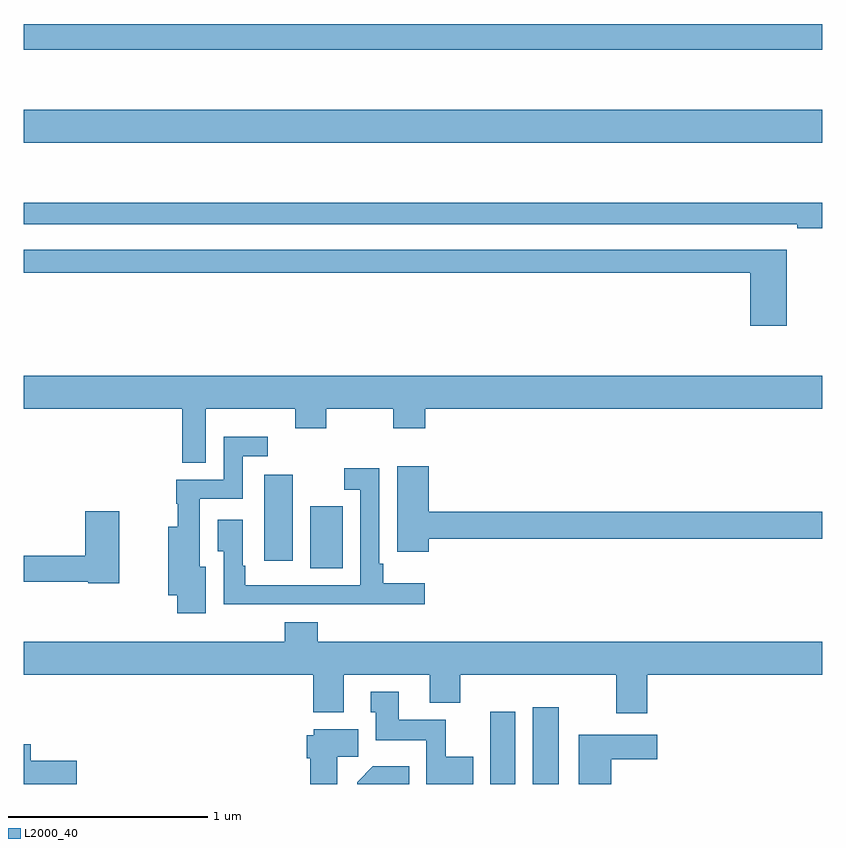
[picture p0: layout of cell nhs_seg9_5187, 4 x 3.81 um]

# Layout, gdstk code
import gdstk
lib = gdstk.Library(unit=1e-6, precision=1e-09)
def R(c, l, rs):  # rectangles x0, y0, x1, y1
    for r in rs: c.add(gdstk.rectangle(r[:2], r[2:], *l))
def P(c, l, *ps):  # polygons
    for p in ps: c.add(gdstk.Polygon(p, *l))
L2000_40 = (2000, 40)

nhs_seg9_5187 = lib.new_cell('nhs_seg9_5187')
R(nhs_seg9_5187, L2000_40, [(413.336,1234.5,413.461,1234.861), (413.549,1234.5,413.68,1234.885), (412.436,1235.581,412.597,1235.892), (412.205,1235.618,412.348,1236.049), (411,1237.712,415,1237.876), (411,1238.178,415,1238.306)])
P(nhs_seg9_5187, L2000_40, [(415,1237.411),(411,1237.411),(411,1237.302),(414.874,1237.302),(414.874,1237.282),(415,1237.282)],
  [(414.821,1237.176),(411,1237.176),(411,1237.06),(414.638,1237.06),(414.638,1236.795),(414.821,1236.795)],
  [(411.913,1236.38),(412.36,1236.38),(412.36,1236.281),(412.515,1236.281),(412.515,1236.38),(412.852,1236.38),(412.852,1236.281),(413.012,1236.281),(413.012,1236.38),(415,1236.38),(415,1236.544),(411,1236.544),(411,1236.38),(411.795,1236.38),(411.795,1236.109),(411.913,1236.109)],
  [(411.913,1235.587),(411.883,1235.587),(411.883,1235.928),(412.098,1235.928),(412.098,1236.141),(412.222,1236.141),(412.222,1236.238),(412.002,1236.238),(412.002,1236.024),(411.765,1236.024),(411.765,1235.903),(411.772,1235.903),(411.772,1235.788),(411.725,1235.788),(411.725,1235.444),(411.77,1235.444),(411.77,1235.355),(411.913,1235.355)],
  [(413.03,1235.728),(415,1235.728),(415,1235.864),(413.03,1235.864),(413.03,1236.091),(412.871,1236.091),(412.871,1235.664),(413.03,1235.664)],
  [(412.223,1235.4),(412.589,1235.4),(412.589,1235.399),(413.008,1235.399),(413.008,1235.506),(412.802,1235.506),(412.802,1235.602),(412.782,1235.602),(412.782,1236.082),(412.605,1236.082),(412.605,1235.973),(412.686,1235.973),(412.686,1235.496),(412.111,1235.496),(412.111,1235.593),(412.098,1235.593),(412.098,1235.824),(411.971,1235.824),(411.971,1235.665),(412.002,1235.665),(412.002,1235.399),(412.223,1235.399)],
  [(411.478,1235.866),(411.308,1235.866),(411.308,1235.642),(411,1235.642),(411,1235.514),(411.324,1235.514),(411.324,1235.506),(411.478,1235.506)],
  [(414.122,1235.048),(415,1235.048),(415,1235.212),(412.472,1235.212),(412.472,1235.311),(412.307,1235.311),(412.307,1235.212),(411,1235.212),(411,1235.048),(412.451,1235.048),(412.451,1234.859),(412.603,1234.859),(412.603,1235.048),(413.033,1235.048),(413.033,1234.907),(413.186,1234.907),(413.186,1235.048),(413.969,1235.048),(413.969,1234.854),(414.122,1234.854)],
  [(413.251,1234.636),(413.115,1234.636),(413.115,1234.822),(412.879,1234.822),(412.879,1234.963),(412.739,1234.963),(412.739,1234.86),(412.763,1234.86),(412.763,1234.718),(413.016,1234.718),(413.016,1234.5),(413.251,1234.5)],
  [(412.57,1234.636),(412.675,1234.636),(412.675,1234.774),(412.452,1234.774),(412.452,1234.743),(412.418,1234.743),(412.418,1234.629),(412.436,1234.629),(412.436,1234.5),(412.57,1234.5)],
  [(413.942,1234.625),(414.172,1234.625),(414.172,1234.747),(413.78,1234.747),(413.78,1234.5),(413.942,1234.5)],
  [(411.265,1234.617),(411.035,1234.617),(411.035,1234.699),(411,1234.699),(411,1234.5),(411.265,1234.5)],
  [(412.931,1234.588),(412.748,1234.588),(412.67,1234.51),(412.67,1234.5),(412.931,1234.5)])

lib.write_gds('nhs_seg9_5187.gds')
